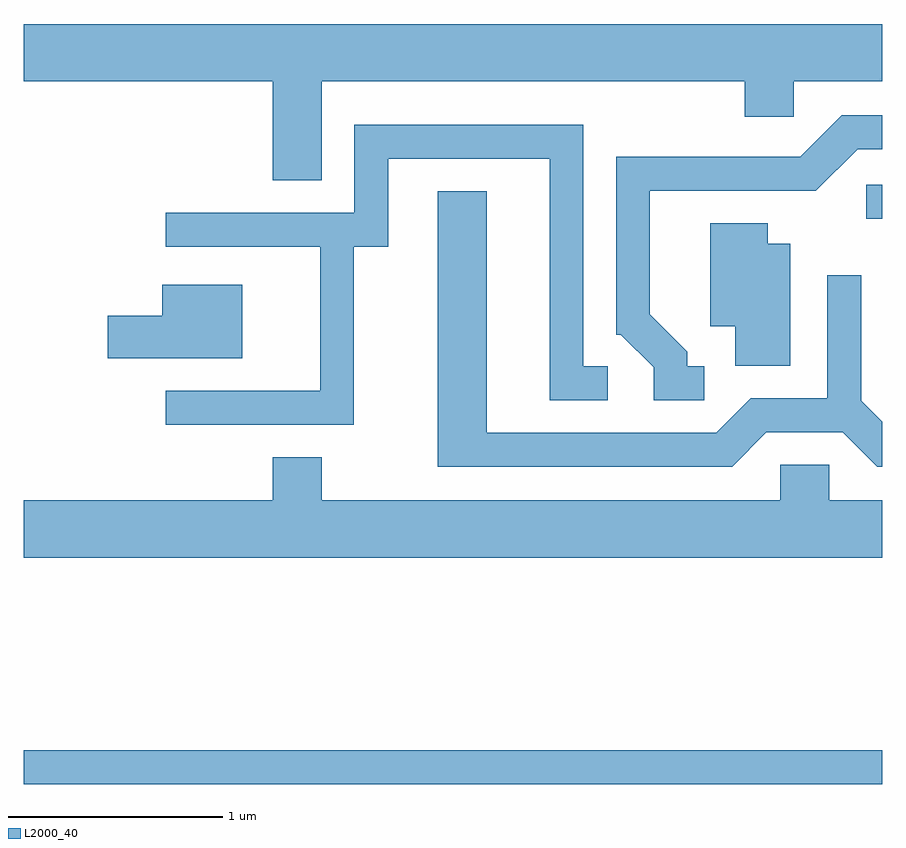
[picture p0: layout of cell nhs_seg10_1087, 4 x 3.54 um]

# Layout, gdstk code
import gdstk
lib = gdstk.Library(unit=1e-6, precision=1e-09)
def R(c, l, rs):  # rectangles x0, y0, x1, y1
    for r in rs: c.add(gdstk.rectangle(r[:2], r[2:], *l))
def P(c, l, *ps):  # polygons
    for p in ps: c.add(gdstk.Polygon(p, *l))
L2000_40 = (2000, 40)

nhs_seg10_1087 = lib.new_cell('nhs_seg10_1087')
R(nhs_seg10_1087, L2000_40, [(217.611,2092.881,221.611,2093.039), (221.538,2095.516,221.611,2095.674)])
P(nhs_seg10_1087, L2000_40, [(218.999,2096.156),(220.971,2096.156),(220.971,2095.991),(221.199,2095.991),(221.199,2096.156),(221.611,2096.156),(221.611,2096.424),(217.611,2096.424),(217.611,2096.156),(218.771,2096.156),(218.771,2095.696),(218.999,2095.696)],
  [(220.783,2094.829),(220.704,2094.829),(220.704,2094.896),(220.529,2095.072),(220.529,2095.646),(221.302,2095.646),(221.497,2095.841),(221.611,2095.841),(221.611,2095.999),(221.424,2095.999),(221.229,2095.804),(220.371,2095.804),(220.371,2094.976),(220.394,2094.976),(220.546,2094.824),(220.546,2094.671),(220.783,2094.671)],
  [(219.149,2095.386),(219.309,2095.386),(219.309,2095.796),(220.061,2095.796),(220.061,2094.671),(220.333,2094.671),(220.333,2094.829),(220.219,2094.829),(220.219,2095.954),(219.151,2095.954),(219.151,2095.544),(218.273,2095.544),(218.273,2095.386),(218.991,2095.386),(218.991,2094.714),(218.273,2094.714),(218.273,2094.556),(219.149,2094.556)],
  [(221.072,2094.521),(221.429,2094.521),(221.589,2094.361),(221.611,2094.361),(221.611,2094.57),(221.514,2094.667),(221.514,2095.253),(221.356,2095.253),(221.356,2094.679),(220.999,2094.679),(220.839,2094.519),(219.769,2094.519),(219.769,2095.644),(219.541,2095.644),(219.541,2094.361),(220.912,2094.361)],
  [(221.184,2095.399),(221.079,2095.399),(221.079,2095.494),(220.811,2095.494),(220.811,2095.016),(220.926,2095.016),(220.926,2094.831),(221.184,2094.831)],
  [(218.629,2095.209),(218.256,2095.209),(218.256,2095.064),(218.001,2095.064),(218.001,2094.866),(218.629,2094.866)],
  [(221.611,2094.204),(221.364,2094.204),(221.364,2094.369),(221.136,2094.369),(221.136,2094.204),(218.999,2094.204),(218.999,2094.404),(218.771,2094.404),(218.771,2094.204),(217.611,2094.204),(217.611,2093.936),(221.611,2093.936)])

lib.write_gds('nhs_seg10_1087.gds')
